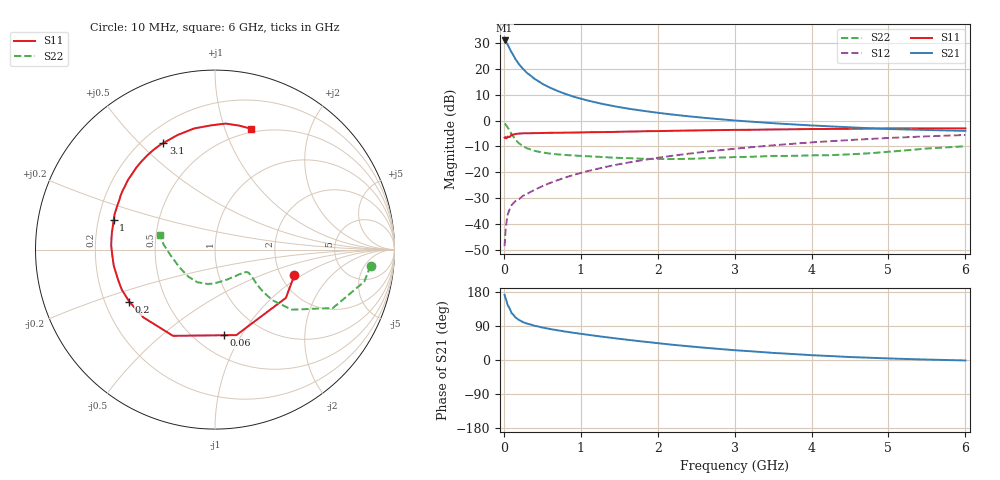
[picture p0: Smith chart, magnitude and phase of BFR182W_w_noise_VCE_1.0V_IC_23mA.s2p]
! Infineon Technologies  Discrete & RF Semiconductors
! BFR182W
! VCE =  1.0 V,  IC =  23 mA
! Common Emitter S-Parameters:  Jan 2017
# GHz  S  MA  R  50
!  f  S11  S21  S12  S22
! GHz  MAG  ANG  MAG  ANG  MAG  ANG  MAG  ANG
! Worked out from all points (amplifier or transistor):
!   77 points, 10 MHz to 6 GHz, reference 50 ohm
!   highest |S21| = 31.0 dB at 10 MHz (marker M1)
!   |S21| within 3 dB of that: start of sweep to 73.52 MHz
!   unconditionally stable (mu >= 1): 327 MHz to 3.922 GHz; 4.112 GHz to end of sweep
!   at 130 MHz: K = 0.60, MSG = 28.4 dB, |S12| = -31.8 dB
!   at 2.2 GHz: K = 1.12, MAG = 5.8 dB, |S12| = -13.6 dB
!   at 6 GHz: K = 1.03, MAG = -0.3 dB, |S12| = -5.6 dB
!   lowest NFmin = 1.50 dB at 450 MHz
!   S11 on the Smith chart (normalised r, x): 10 MHz: 2.37, -0.86; 60 MHz: 0.68, -0.84; 200 MHz: 0.30, -0.26; 1 GHz: 0.26, +0.13; 3.1 GHz: 0.28, +0.59; 6 GHz: 0.46, +1.23
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0.01  0.4651 -17.8  35.44 172.0  0.0037 80.3  0.8716 -5.9
0.02  0.4779 -34.3  34.88 164.5  0.0067 78.2  0.8508 -12.1
0.05  0.491 -76.0  29.48 144.6  0.0151 62.5  0.7326 -26.4
0.06  0.4796 -84.2  27.55 141.5  0.0166 60.3  0.6929 -28.2
0.1  0.5344 -116.0  20.98 123.8  0.0229 54.5  0.5435 -38.0
0.15  0.5494 -136.5  15.5 112.5  0.0275 51.3  0.4266 -41.4
0.2  0.5589 -148.7  12.14 105.2  0.0303 53.3  0.3596 -41.3
0.25  0.5653 -156.8  9.938 99.9  0.035 54.9  0.3177 -40.2
0.3  0.5657 -162.8  8.367 96.2  0.0379 56.0  0.2904 -38.9
0.4  0.5711 -170.9  6.387 90.2  0.0456 60.0  0.2587 -36.6
0.5  0.5733 -177.1  5.147 85.7  0.0533 62.6  0.241 -35.3
0.6  0.5786 177.9  4.323 81.8  0.0619 64.6  0.2291 -34.7
0.7  0.5802 174.0  3.721 78.4  0.0701 66.1  0.2211 -34.8
0.8  0.5823 170.4  3.275 75.0  0.079 67.4  0.2155 -35.5
1  0.5882 163.7  2.647 69.1  0.0966 68.1  0.2065 -37.9
1.1  0.593 160.7  2.42 66.4  0.1057 68.0  0.2033 -39.7
1.5  0.606 150.2  1.817 56.0  0.1426 67.1  0.189 -49.0
2.1  0.6282 136.0  1.355 42.3  0.1991 63.5  0.1796 -69.6
3.1  0.6599 115.8  0.978 24.5  0.2937 54.4  0.1971 -105.9
4.1  0.6855 98.1  0.79 11.8  0.3857 43.8  0.212 -139.0
5.1  0.7038 83.9  0.679 3.5  0.4659 32.3  0.2552 -175.3
6  0.7025 73.4  0.63 -1.2  0.5252 22.2  0.318 165.0
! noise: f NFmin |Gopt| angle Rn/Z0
0.45  1.5  0.14  -170  0.15
0.9  1.58  0.16  -165  0.16
1.9  2.1  0.31  -139  0.17
2.4  2.38  0.32  -127  0.27
